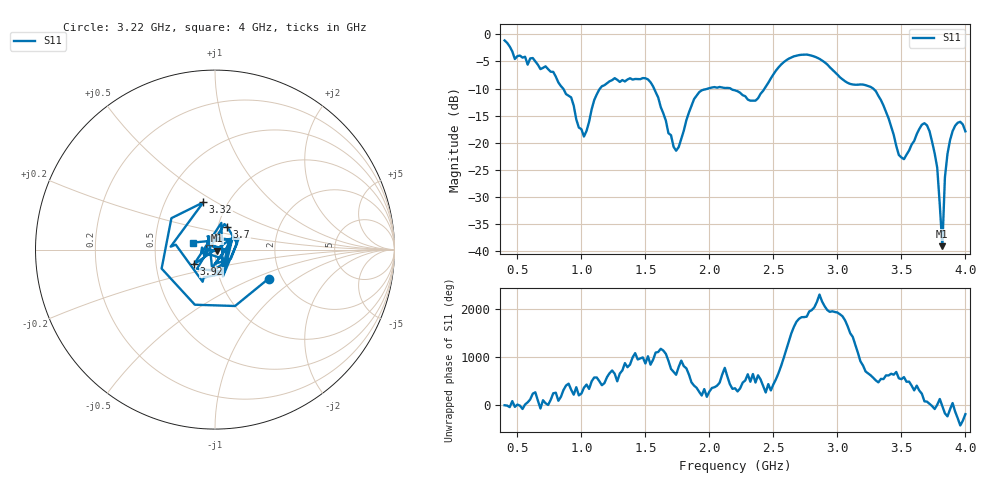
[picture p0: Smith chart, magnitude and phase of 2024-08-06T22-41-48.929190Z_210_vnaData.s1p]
!Created with skrf (http://scikit-rf.org).
# Hz S RI R 50.0
!freq ReS11 ImS11
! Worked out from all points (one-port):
!   181 points, 400 MHz to 4 GHz, reference 50 ohm
!   lowest |S11| = -39.1 dB at 3.82 GHz (marker M1), VSWR 1.02, Z = 50.9 - j0.644 ohm
!   |S11| at or under -10 dB: 856.8 MHz to 1.146 GHz (289 MHz wide, 28.9 % of centre); 1.567 GHz to 1.991 GHz (423.6 MHz wide, 23.8 % of centre); 3.279 GHz to end of sweep (the widest 3 of 4)
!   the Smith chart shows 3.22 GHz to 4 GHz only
!   S11 on the Smith chart (normalised r, x): 3.22 GHz: 1.71, -0.62; 3.32 GHz: 0.77, +0.44; 3.7 GHz: 1.11, +0.29; 3.92 GHz: 0.78, -0.13; 4 GHz: 0.78, +0.06
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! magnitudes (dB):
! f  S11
! 400 MHz  -1.1
! 480 MHz  -4.6
! 620 MHz  -4.4
! 860 MHz  -10.1
! 920 MHz  -11.6
! 1.02 GHz  -18.9
! 1.14 GHz  -10.2
! 1.3 GHz  -8.8
! 1.54 GHz  -8.8
! 1.72 GHz  -20.7
! 1.76 GHz  -20.8
! 1.92 GHz  -10.7
! 2.2 GHz  -10.3
! 2.36 GHz  -12.2
! 2.66 GHz  -4.1
! 2.84 GHz  -4.3
! 3.1 GHz  -9.2
! 3.22 GHz  -9.4
! 3.32 GHz  -11.3
! 3.48 GHz  -22.3
! 3.56 GHz  -21.4
! 3.7 GHz  -16.8
! 3.78 GHz  -24.6
! 3.82 GHz  -39.1
! 3.84 GHz  -26.4
! 3.88 GHz  -19.5
! 3.92 GHz  -16.9
! 4 GHz  -17.9
